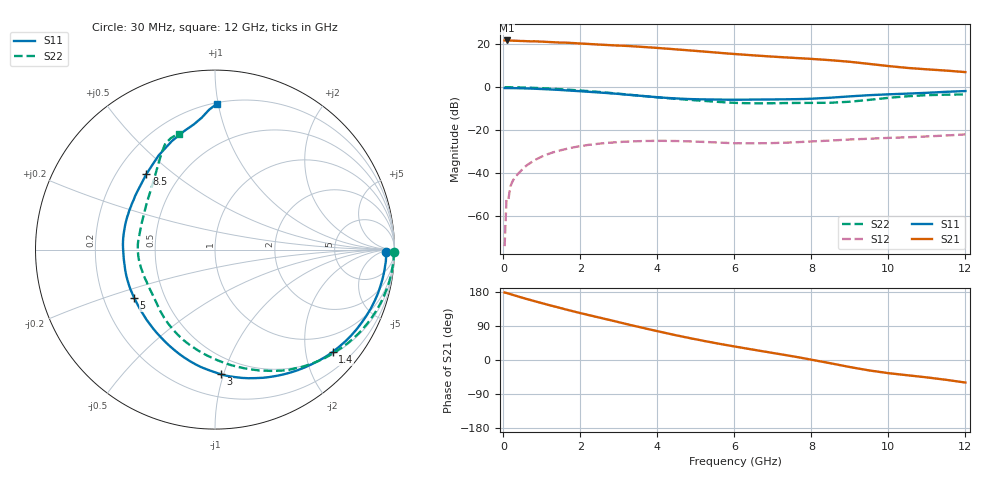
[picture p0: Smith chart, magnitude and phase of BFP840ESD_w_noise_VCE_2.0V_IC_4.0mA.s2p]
! Infineon Technologies  Discrete & RF Semiconductors
! BFP840ESD
! VCE =  2.0 V,  IC =  4.0 mA
! Common Emitter S-Parameters:  May 2012
# GHz  S  MA  R  50
!  f  S11  S21  S12  S22
! GHz  MAG  ANG  MAG  ANG  MAG  ANG  MAG  ANG
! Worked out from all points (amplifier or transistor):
!   93 points, 30 MHz to 12 GHz, reference 50 ohm
!   highest |S21| = 21.7 dB at 80 MHz (marker M1)
!   |S21| within 3 dB of that: start of sweep to 3.606 GHz
!   unconditionally stable (mu >= 1): start of sweep to 30.63 MHz; 6.288 GHz to 10.27 GHz
!   at 1.1 GHz: K = 0.17, MSG = 26.3 dB, |S12| = -31.5 dB
!   at 4.2 GHz: K = 0.54, MSG = 21.5 dB, |S12| = -25.0 dB
!   at 12 GHz: K = 0.66, MSG = 14.5 dB, |S12| = -22.0 dB
!   lowest NFmin = 0.52 dB at 450 MHz
!   S11 on the Smith chart (normalised r, x): 30 MHz: 38, -13; 1.4 GHz: 0.55, -2.56; 3 GHz: 0.36, -0.98; 5 GHz: 0.33, -0.25; 8.5 GHz: 0.32, +0.40; 12 GHz: 0.21, +0.99
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0.03  0.9539 -0.9  12.21 178.1  0.0002 -21.0  0.9951 -0.7
0.08  0.954 -2.4  12.21 176.8  0.0026 47.8  0.9966 -2.0
0.13  0.9541 -3.9  12.2 175.5  0.0025 92.3  0.9963 -3.3
0.28  0.9494 -8.4  12.05 170.7  0.0076 80.0  0.9922 -7.2
0.8  0.9205 -23.7  11.67 155.5  0.0199 69.9  0.9626 -20.3
1.1  0.8963 -32.5  11.35 147.3  0.0266 64.2  0.9366 -27.7
1.4  0.8688 -41.1  10.97 139.3  0.0324 57.7  0.9059 -35.0
1.7  0.8356 -49.9  10.76 131.3  0.0379 51.3  0.8714 -42.2
2.1  0.7934 -61.2  10.26 121.3  0.0438 43.9  0.8232 -51.6
2.6  0.7402 -75.5  9.671 109.3  0.0497 34.9  0.7579 -63.0
3  0.6955 -87.3  9.266 99.7  0.0527 28.8  0.7034 -72.1
3.5  0.6369 -102.7  8.784 87.7  0.0554 21.2  0.639 -84.2
4.1  0.5742 -121.6  8.05 73.8  0.0564 13.4  0.5709 -99.3
4.5  0.5462 -134.2  7.559 64.9  0.0558 9.0  0.5341 -109.1
5  0.5246 -149.2  6.972 54.6  0.054 4.8  0.4938 -120.4
5.5  0.5154 -162.7  6.418 44.8  0.0519 2.5  0.46 -131.2
6.1  0.5106 -176.5  5.828 34.0  0.0497 2.5  0.4293 -143.9
7.5  0.5252 155.3  4.831 10.0  0.052 5.1  0.429 -175.0
8.5  0.5688 132.2  4.243 -8.7  0.0573 4.7  0.4339 160.7
9.5  0.651 111.6  3.478 -27.5  0.0632 1.2  0.5064 133.1
10.5  0.7082 99.5  2.803 -40.3  0.0683 -2.5  0.6146 119.0
12  0.813 89.2  2.243 -59.5  0.0797 -7.9  0.6776 107.4
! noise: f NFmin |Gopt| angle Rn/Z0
0.45  0.52  0.53  2  0.24
0.9  0.54  0.52  6  0.23
1.5  0.57  0.52  16  0.19
1.9  0.61  0.5  18  0.18
2.4  0.64  0.46  32  0.16
3.5  0.7  0.36  58  0.13
5.5  0.85  0.26  115  0.1
8  1.05  0.38  -147  0.06
10  1.25  0.52  -105  0.16
12  1.49  0.58  -82  0.27
